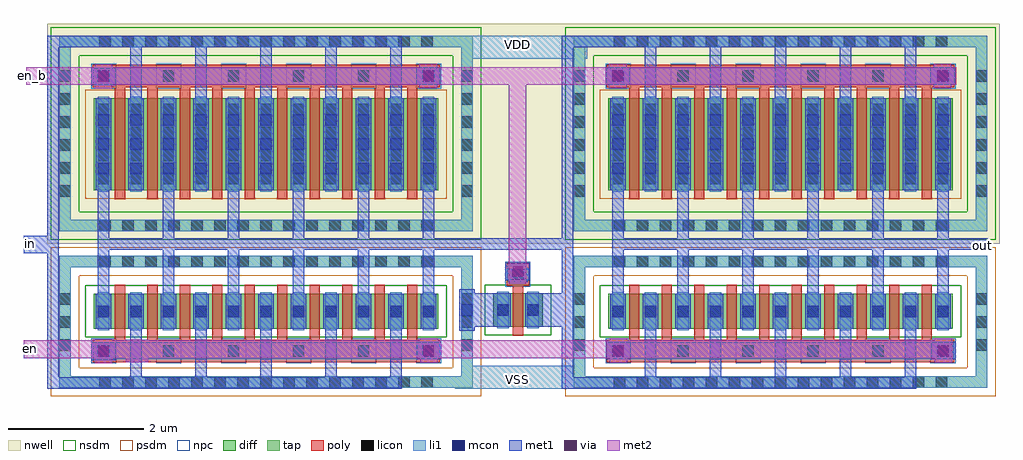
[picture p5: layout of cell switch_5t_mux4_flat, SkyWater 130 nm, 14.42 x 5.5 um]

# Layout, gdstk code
import gdstk
lib = gdstk.Library(unit=1e-6, precision=1e-09)
def R(c, l, rs):  # rectangles x0, y0, x1, y1
    for r in rs: c.add(gdstk.rectangle(r[:2], r[2:], *l))
def A(c, l, x, y, w, h, nx, ny, dx, dy):  # array of equal rectangles
    R(c, l, [(x+i*dx, y+j*dy, x+i*dx+w, y+j*dy+h) for i in range(nx) for j in range(ny)])
nwell = (64, 20)
diff = (65, 20)
tap = (65, 44)
poly = (66, 20)
licon = (66, 44)
li1 = (67, 20)
mcon = (67, 44)
met1 = (68, 20)
via = (68, 44)
met2 = (69, 20)
nsdm = (93, 44)
psdm = (94, 20)
npc = (95, 20)

switch_5t_mux4_flat = lib.new_cell('switch_5t_mux4_flat')
R(switch_5t_mux4_flat, nwell, [(0.81,2.34,14.88,5.59)])
R(switch_5t_mux4_flat, diff, [(1.5,1.08,6.59,1.6), (9.1,1.08,14.19,1.6), (7.4,1.11,8.13,1.61), (1.5,3.13,6.59,4.49), (9.1,3.13,14.19,4.49)])
R(switch_5t_mux4_flat, tap, [(0.99,0.21,7.1,0.38), (8.59,0.21,14.7,0.38), (0.99,0.38,1.16,1.99), (6.93,0.38,7.1,1.99), (8.59,0.38,8.76,1.99), (14.53,0.38,14.7,1.99), (0.99,1.99,7.1,2.16), (8.59,1.99,14.7,2.16), (0.99,2.52,7.1,2.69), (8.59,2.52,14.7,2.69), (0.99,2.69,1.16,5.24), (6.93,2.69,7.1,5.24), (8.59,2.69,8.76,5.24), (14.53,2.69,14.7,5.24), (0.99,5.24,7.1,5.41), (8.59,5.24,14.7,5.41)])
A(switch_5t_mux4_flat, poly, 1.81, 0.92, 0.15, 0.81, 10, 1, 0.48, 0)
A(switch_5t_mux4_flat, poly, 9.41, 0.92, 0.15, 0.81, 10, 1, 0.48, 0)
A(switch_5t_mux4_flat, poly, 1.81, 3, 0.15, 1.65, 10, 1, 0.48, 0)
A(switch_5t_mux4_flat, poly, 9.41, 3, 0.15, 1.65, 10, 1, 0.48, 0)
R(switch_5t_mux4_flat, poly, [(1.48,0.59,6.61,0.92), (9.08,0.59,14.21,0.92), (7.69,0.98,7.84,1.72), (7.6,1.72,7.93,2.05), (1.48,4.65,6.61,4.98), (9.08,4.65,14.21,4.98)])
A(switch_5t_mux4_flat, licon, 1.58, 0.21, 0.17, 0.17, 15, 2, 0.34, 1.78)
A(switch_5t_mux4_flat, licon, 9.18, 0.21, 0.17, 0.17, 15, 2, 0.34, 1.78)
A(switch_5t_mux4_flat, licon, 1.56, 0.67, 0.17, 0.17, 6, 2, 0.96, 4.06)
A(switch_5t_mux4_flat, licon, 9.16, 0.67, 0.17, 0.17, 6, 2, 0.96, 4.06)
A(switch_5t_mux4_flat, licon, 0.99, 0.76, 0.17, 0.17, 1, 3, 0, 0.34)
A(switch_5t_mux4_flat, licon, 6.93, 0.76, 0.17, 0.17, 1, 3, 0, 0.34)
A(switch_5t_mux4_flat, licon, 8.59, 0.76, 0.17, 0.17, 1, 3, 0, 0.34)
A(switch_5t_mux4_flat, licon, 14.53, 0.76, 0.17, 0.17, 1, 3, 0, 0.34)
A(switch_5t_mux4_flat, licon, 1.56, 1.255, 0.17, 0.17, 11, 2, 0.48, 1.96)
A(switch_5t_mux4_flat, licon, 9.16, 1.255, 0.17, 0.17, 11, 2, 0.48, 1.96)
A(switch_5t_mux4_flat, licon, 1.58, 2.52, 0.17, 0.17, 15, 2, 0.34, 2.72)
A(switch_5t_mux4_flat, licon, 9.18, 2.52, 0.17, 0.17, 15, 2, 0.34, 2.72)
A(switch_5t_mux4_flat, licon, 0.99, 3.03, 0.17, 0.17, 1, 6, 0, 0.34)
A(switch_5t_mux4_flat, licon, 6.93, 3.03, 0.17, 0.17, 1, 6, 0, 0.34)
A(switch_5t_mux4_flat, licon, 8.59, 3.03, 0.17, 0.17, 1, 6, 0, 0.34)
A(switch_5t_mux4_flat, licon, 14.53, 3.03, 0.17, 0.17, 1, 6, 0, 0.34)
A(switch_5t_mux4_flat, licon, 1.56, 3.555, 0.17, 0.17, 11, 3, 0.48, 0.34)
A(switch_5t_mux4_flat, licon, 9.16, 3.555, 0.17, 0.17, 11, 3, 0.48, 0.34)
R(switch_5t_mux4_flat, licon, [(7.46,1.275,7.63,1.445), (7.9,1.275,8.07,1.445), (7.68,1.8,7.85,1.97)])
A(switch_5t_mux4_flat, li1, 1.56, 1.06, 0.17, 0.56, 11, 1, 0.48, 0)
A(switch_5t_mux4_flat, li1, 9.16, 1.06, 0.17, 0.56, 11, 1, 0.48, 0)
A(switch_5t_mux4_flat, li1, 1.56, 3.11, 0.17, 1.4, 11, 1, 0.48, 0)
A(switch_5t_mux4_flat, li1, 9.16, 3.11, 0.17, 1.4, 11, 1, 0.48, 0)
R(switch_5t_mux4_flat, li1, [(6.84,0.2,8.83,0.21), (0.99,0.21,14.7,0.38), (0.99,0.38,1.16,1.99), (6.93,0.38,8.76,0.54), (14.53,0.38,14.7,1.99), (6.93,0.54,7.1,1.99), (8.59,0.54,8.76,1.99), (1.48,0.63,6.61,0.88), (9.08,0.63,14.21,0.88), (7.46,1.09,7.63,1.63), (7.9,1.09,8.07,1.63), (7.6,1.8,7.93,1.97), (0.99,1.99,7.1,2.16), (8.59,1.99,14.7,2.16), (0.99,2.52,7.1,2.69), (8.59,2.52,14.7,2.69), (0.99,2.69,1.16,5.24), (6.93,2.69,7.1,5.07), (8.59,2.69,8.76,5.07), (14.53,2.69,14.7,5.24), (1.48,4.69,6.61,4.94), (9.08,4.69,14.21,4.94), (6.93,5.07,8.79,5.24), (0.99,5.24,14.7,5.41)])
A(switch_5t_mux4_flat, mcon, 1.56, 1.255, 0.17, 0.17, 11, 2, 0.48, 2.11)
A(switch_5t_mux4_flat, mcon, 9.16, 1.255, 0.17, 0.17, 11, 2, 0.48, 2.11)
A(switch_5t_mux4_flat, mcon, 1.56, 3.725, 0.17, 0.17, 11, 2, 0.48, 0.36)
A(switch_5t_mux4_flat, mcon, 9.16, 3.725, 0.17, 0.17, 11, 2, 0.48, 0.36)
R(switch_5t_mux4_flat, mcon, [(1.56,0.67,1.73,0.84), (6.36,0.67,6.53,0.84), (9.16,0.67,9.33,0.84), (13.96,0.67,14.13,0.84), (6.93,1.275,7.1,1.445), (7.46,1.275,7.63,1.445), (7.9,1.275,8.07,1.445), (7.68,1.8,7.85,1.97), (1.56,4.73,1.73,4.9), (6.36,4.73,6.53,4.9), (9.16,4.73,9.33,4.9), (13.96,4.73,14.13,4.9)])
A(switch_5t_mux4_flat, met1, 2.04, 0.37, 0.17, 0.71, 5, 1, 0.96, 0)
A(switch_5t_mux4_flat, met1, 9.64, 0.37, 0.17, 0.71, 5, 1, 0.96, 0)
A(switch_5t_mux4_flat, met1, 1.53, 1.08, 0.23, 0.52, 11, 1, 0.48, 0)
A(switch_5t_mux4_flat, met1, 9.13, 1.08, 0.23, 0.52, 11, 1, 0.48, 0)
A(switch_5t_mux4_flat, met1, 1.56, 1.6, 0.17, 0.65, 6, 1, 0.96, 0)
A(switch_5t_mux4_flat, met1, 9.16, 1.6, 0.17, 0.65, 6, 1, 0.96, 0)
A(switch_5t_mux4_flat, met1, 1.56, 2.42, 0.17, 0.71, 6, 1, 0.96, 0)
A(switch_5t_mux4_flat, met1, 9.16, 2.42, 0.17, 0.71, 6, 1, 0.96, 0)
A(switch_5t_mux4_flat, met1, 1.53, 3.13, 0.23, 1.36, 11, 1, 0.48, 0)
A(switch_5t_mux4_flat, met1, 9.13, 3.13, 0.23, 1.36, 11, 1, 0.48, 0)
A(switch_5t_mux4_flat, met1, 2.04, 4.49, 0.17, 0.75, 5, 1, 0.96, 0)
A(switch_5t_mux4_flat, met1, 9.64, 4.49, 0.17, 0.75, 5, 1, 0.96, 0)
R(switch_5t_mux4_flat, met1, [(0.81,0.2,6.05,0.37), (8.41,0.2,13.65,0.37), (0.81,0.37,0.98,2.2), (8.41,0.37,8.58,1.11), (1.46,0.62,1.82,0.88), (6.27,0.63,6.63,0.89), (9.07,0.63,9.43,0.89), (13.87,0.63,14.23,0.89), (6.9,1.05,7.13,1.11), (6.9,1.11,7.66,1.61), (7.87,1.11,8.58,1.61), (6.9,1.61,7.13,1.67), (8.41,1.61,8.58,2.25), (7.62,1.77,7.91,1.8), (7.58,1.8,7.94,2.06), (0.46,2.2,0.98,2.46), (1.56,2.25,8.58,2.42), (9.16,2.25,14.71,2.42), (8.41,2.42,8.58,5.24), (0.81,2.46,0.98,5.24), (1.46,4.68,1.82,4.94), (6.26,4.69,6.62,4.95), (9.06,4.69,9.42,4.95), (13.86,4.69,14.22,4.95), (0.81,5.24,6.05,5.41), (8.41,5.24,13.65,5.41)])
R(switch_5t_mux4_flat, via, [(1.565,0.675,1.715,0.825), (6.375,0.685,6.525,0.835), (9.175,0.685,9.325,0.835), (13.975,0.685,14.125,0.835), (7.685,1.855,7.835,2.005), (1.565,4.735,1.715,4.885), (6.365,4.745,6.515,4.895), (9.165,4.745,9.315,4.895), (13.965,4.745,14.115,4.895)])
R(switch_5t_mux4_flat, met2, [(1.51,0.57,1.77,0.65), (6.32,0.58,6.58,0.65), (9.12,0.58,9.38,0.65), (13.92,0.58,14.18,0.65), (1.97,0.59,2.3,0.65), (0.46,0.65,14.18,0.91), (1.51,0.91,1.77,0.93), (1.97,0.91,2.3,0.92), (6.32,0.91,6.58,0.94), (9.12,0.91,9.38,0.94), (13.92,0.91,14.18,0.94), (7.63,1.75,7.89,4.69), (1.51,4.63,1.77,4.69), (6.31,4.64,6.57,4.69), (9.11,4.64,9.37,4.69), (13.91,4.64,14.17,4.69), (0.5,4.69,14.24,4.95), (1.51,4.95,1.77,4.99), (6.31,4.95,6.57,5), (9.11,4.95,9.37,5), (13.91,4.95,14.17,5)])
R(switch_5t_mux4_flat, nsdm, [(1.375,0.955,6.715,1.725), (8.975,0.955,14.315,1.725), (7.275,0.985,8.255,1.735), (0.865,2.395,7.225,2.815), (8.465,2.395,14.825,2.815), (0.865,2.815,1.285,5.115), (6.805,2.815,7.225,5.115), (8.465,2.815,8.885,5.115), (14.405,2.815,14.825,5.115), (0.865,5.115,7.225,5.535), (8.465,5.115,14.825,5.535)])
R(switch_5t_mux4_flat, psdm, [(0.865,0.085,7.225,0.505), (8.465,0.085,14.825,0.505), (0.865,0.505,1.285,1.865), (6.805,0.505,7.225,1.865), (8.465,0.505,8.885,1.865), (14.405,0.505,14.825,1.865), (0.865,1.865,7.225,2.285), (8.465,1.865,14.825,2.285), (1.375,3.005,6.715,4.615), (8.975,3.005,14.315,4.615)])
A(switch_5t_mux4_flat, npc, 1.46, 0.57, 0.37, 0.37, 6, 2, 0.96, 4.06)
A(switch_5t_mux4_flat, npc, 9.06, 0.57, 0.37, 0.37, 6, 2, 0.96, 4.06)
R(switch_5t_mux4_flat, npc, [(7.58,1.7,7.95,2.07)])
switch_5t_mux4_flat.add(gdstk.Label('in', (0.57,2.34), layer=68, texttype=16))
switch_5t_mux4_flat.add(gdstk.Label('out', (14.63,2.32), layer=68, texttype=16))
switch_5t_mux4_flat.add(gdstk.Label('en', (0.57,0.79), layer=69, texttype=16))
switch_5t_mux4_flat.add(gdstk.Label('en_b', (0.6,4.82), layer=69, texttype=16))
switch_5t_mux4_flat.add(gdstk.Label('VDD', (7.76,5.28), layer=67, texttype=16))
switch_5t_mux4_flat.add(gdstk.Label('VSS', (7.76,0.33), layer=67, texttype=16))

lib.write_gds('switch_5t_mux4_flat.gds')
